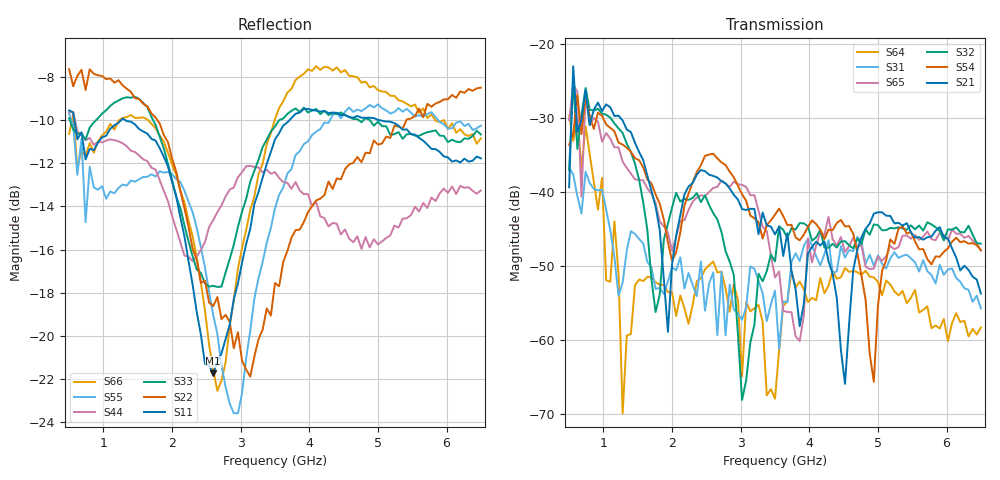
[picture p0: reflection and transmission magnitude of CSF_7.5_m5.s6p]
!Keysight Technologies,M9804A,MY58100912,A.14.10.03
!Date: Thursday, April 27, 2023 10:28:33
!Correction: S11(C  6-Port  )
!S12(C  6-Port  )
!S13(C  6-Port  )
!S14(C  6-Port  )
!S15(C  6-Port  )
!S16(C  6-Port  )
!S21(C  6-Port  )
!S22(C  6-Port  )
!S23(C  6-Port  )
!S24(C  6-Port  )
!S25(C  6-Port  )
!S26(C  6-Port  )
!S31(C  6-Port  )
!S32(C  6-Port  )
!S33(C  6-Port  )
!S34(C  6-Port  )
!S35(C  6-Port  )
!S36(C  6-Port  )
!S41(C  6-Port  )
!S42(C  6-Port  )
!S43(C  6-Port  )
!S44(C  6-Port  )
!S45(C  6-Port  )
!S46(C  6-Port  )
!S51(C  6-Port  )
!S52(C  6-Port  )
!S53(C  6-Port  )
!S54(C  6-Port  )
!S55(C  6-Port  )
!S56(C  6-Port  )
!S61(C  6-Port  )
!S62(C  6-Port  )
!S63(C  6-Port  )
!S64(C  6-Port  )
!S65(C  6-Port  )
!S66(C  6-Port  )
!S6P File: Measurement: :
# Hz S  RI  R 50
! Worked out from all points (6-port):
!   101 points, 500 MHz to 6.5 GHz, reference 50 ohm
!   strongest paths, dB at 500 MHz, 2 GHz, 3.5 GHz, 5 GHz, 6.5 GHz:
!     S21: -39.4, -49.8, -45.7, -42.7, -53.7
!     S54: -33.6, -49.3, -43.1, -55.4, -47.9
!     S32: -37.0, -42.1, -49.4, -44.5, -47.0
!     S65: -30.3, -47.9, -51.5, -48.7, -47.9
!     S31: -36.7, -50.2, -53.3, -48.6, -55.7
!     S64: -29.7, -53.6, -67.9, -52.1, -58.3
!   lowest |S11| = -21.7 dB at 2.6 GHz (marker M1), VSWR 1.18, Z = 42.7 + j2.09 ohm
!   |S11| at or under -10 dB: 576.5 MHz to 1.259 GHz (682.9 MHz wide, 74.4 % of centre); 1.315 GHz to 3.713 GHz (2.397 GHz wide, 95.4 % of centre); 5.01 GHz to end of sweep
